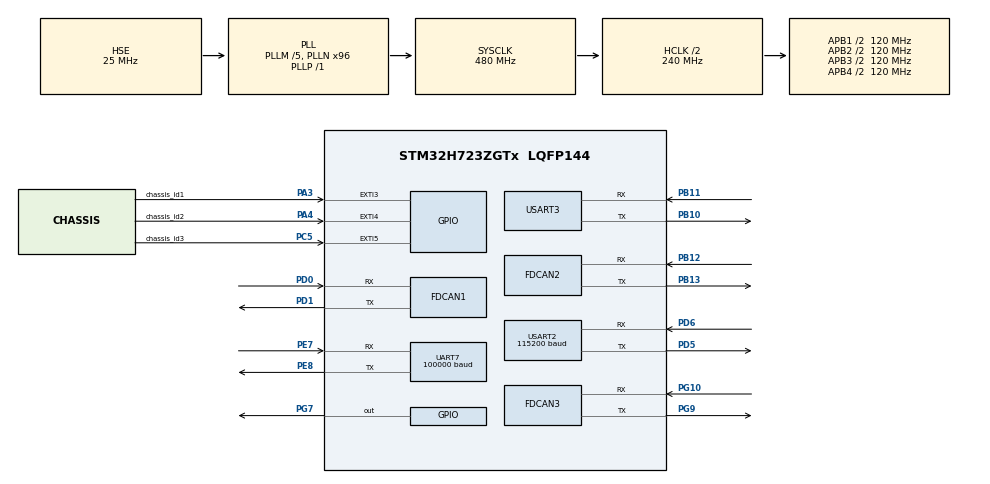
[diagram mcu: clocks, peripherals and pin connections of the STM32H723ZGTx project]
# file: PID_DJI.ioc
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CORTEX_M7.default_mode_Activation=1
Dma.Request0=USART3_RX
Dma.Request1=USART3_TX
Dma.Request2=UART7_RX
Dma.Request3=UART7_TX
Dma.Request4=USART2_RX
Dma.Request5=USART2_TX
Dma.UART7_RX.2.Direction=DMA_PERIPH_TO_MEMORY
Dma.UART7_RX.2.EventEnable=DISABLE
Dma.UART7_RX.2.FIFOMode=DMA_FIFOMODE_DISABLE
Dma.UART7_RX.2.Instance=DMA1_Stream2
Dma.UART7_RX.2.MemDataAlignment=DMA_MDATAALIGN_BYTE
Dma.UART7_RX.2.MemInc=DMA_MINC_ENABLE
Dma.UART7_RX.2.Mode=DMA_NORMAL
Dma.UART7_RX.2.PeriphDataAlignment=DMA_PDATAALIGN_BYTE
Dma.UART7_RX.2.PeriphInc=DMA_PINC_DISABLE
Dma.UART7_RX.2.Polarity=HAL_DMAMUX_REQ_GEN_RISING
Dma.UART7_RX.2.Priority=DMA_PRIORITY_LOW
Dma.UART7_RX.2.RequestNumber=1
Dma.UART7_RX.2.SignalID=NONE
Dma.UART7_RX.2.SyncEnable=DISABLE
Dma.UART7_RX.2.SyncPolarity=HAL_DMAMUX_SYNC_NO_EVENT
Dma.UART7_RX.2.SyncRequestNumber=1
Dma.UART7_RX.2.SyncSignalID=NONE
Dma.UART7_TX.3.Direction=DMA_MEMORY_TO_PERIPH
Dma.UART7_TX.3.EventEnable=DISABLE
Dma.UART7_TX.3.FIFOMode=DMA_FIFOMODE_DISABLE
Dma.UART7_TX.3.Instance=DMA1_Stream3
Dma.UART7_TX.3.MemDataAlignment=DMA_MDATAALIGN_BYTE
Dma.UART7_TX.3.MemInc=DMA_MINC_ENABLE
Dma.UART7_TX.3.Mode=DMA_NORMAL
Dma.UART7_TX.3.PeriphDataAlignment=DMA_PDATAALIGN_BYTE
Dma.UART7_TX.3.PeriphInc=DMA_PINC_DISABLE
Dma.UART7_TX.3.Polarity=HAL_DMAMUX_REQ_GEN_RISING
Dma.UART7_TX.3.Priority=DMA_PRIORITY_LOW
Dma.UART7_TX.3.RequestNumber=1
Dma.UART7_TX.3.SignalID=NONE
Dma.UART7_TX.3.SyncEnable=DISABLE
Dma.UART7_TX.3.SyncPolarity=HAL_DMAMUX_SYNC_NO_EVENT
Dma.UART7_TX.3.SyncRequestNumber=1
Dma.UART7_TX.3.SyncSignalID=NONE
Dma.USART2_RX.4.Direction=DMA_PERIPH_TO_MEMORY
Dma.USART2_RX.4.EventEnable=DISABLE
Dma.USART2_RX.4.FIFOMode=DMA_FIFOMODE_DISABLE
Dma.USART2_RX.4.Instance=DMA1_Stream4
Dma.USART2_RX.4.MemDataAlignment=DMA_MDATAALIGN_BYTE
Dma.USART2_RX.4.MemInc=DMA_MINC_ENABLE
Dma.USART2_RX.4.Mode=DMA_NORMAL
Dma.USART2_RX.4.PeriphDataAlignment=DMA_PDATAALIGN_BYTE
Dma.USART2_RX.4.PeriphInc=DMA_PINC_DISABLE
Dma.USART2_RX.4.Polarity=HAL_DMAMUX_REQ_GEN_RISING
Dma.USART2_RX.4.Priority=DMA_PRIORITY_LOW
Dma.USART2_RX.4.RequestNumber=1
Dma.USART2_RX.4.SignalID=NONE
Dma.USART2_RX.4.SyncEnable=DISABLE
Dma.USART2_RX.4.SyncPolarity=HAL_DMAMUX_SYNC_NO_EVENT
Dma.USART2_RX.4.SyncRequestNumber=1
Dma.USART2_RX.4.SyncSignalID=NONE
Dma.USART2_TX.5.Direction=DMA_MEMORY_TO_PERIPH
Dma.USART2_TX.5.EventEnable=DISABLE
Dma.USART2_TX.5.FIFOMode=DMA_FIFOMODE_DISABLE
Dma.USART2_TX.5.Instance=DMA1_Stream5
Dma.USART2_TX.5.MemDataAlignment=DMA_MDATAALIGN_BYTE
Dma.USART2_TX.5.MemInc=DMA_MINC_ENABLE
Dma.USART2_TX.5.Mode=DMA_NORMAL
Dma.USART2_TX.5.PeriphDataAlignment=DMA_PDATAALIGN_BYTE
Dma.USART2_TX.5.PeriphInc=DMA_PINC_DISABLE
Dma.USART2_TX.5.Polarity=HAL_DMAMUX_REQ_GEN_RISING
Dma.USART2_TX.5.Priority=DMA_PRIORITY_LOW
Dma.USART2_TX.5.RequestNumber=1
Dma.USART2_TX.5.SignalID=NONE
Dma.USART2_TX.5.SyncEnable=DISABLE
Dma.USART2_TX.5.SyncPolarity=HAL_DMAMUX_SYNC_NO_EVENT
Dma.USART2_TX.5.SyncRequestNumber=1
Dma.USART2_TX.5.SyncSignalID=NONE
Dma.USART3_RX.0.Direction=DMA_PERIPH_TO_MEMORY
Dma.USART3_RX.0.EventEnable=DISABLE
Dma.USART3_RX.0.FIFOMode=DMA_FIFOMODE_DISABLE
Dma.USART3_RX.0.Instance=DMA1_Stream0
Dma.USART3_RX.0.MemDataAlignment=DMA_MDATAALIGN_BYTE
Dma.USART3_RX.0.MemInc=DMA_MINC_ENABLE
Dma.USART3_RX.0.Mode=DMA_NORMAL
Dma.USART3_RX.0.PeriphDataAlignment=DMA_PDATAALIGN_BYTE
Dma.USART3_RX.0.PeriphInc=DMA_PINC_DISABLE
Dma.USART3_RX.0.Polarity=HAL_DMAMUX_REQ_GEN_RISING
Dma.USART3_RX.0.Priority=DMA_PRIORITY_LOW
Dma.USART3_RX.0.RequestNumber=1
Dma.USART3_RX.0.SignalID=NONE
Dma.USART3_RX.0.SyncEnable=DISABLE
Dma.USART3_RX.0.SyncPolarity=HAL_DMAMUX_SYNC_NO_EVENT
Dma.USART3_RX.0.SyncRequestNumber=1
Dma.USART3_RX.0.SyncSignalID=NONE
Dma.USART3_TX.1.Direction=DMA_MEMORY_TO_PERIPH
Dma.USART3_TX.1.EventEnable=DISABLE
Dma.USART3_TX.1.FIFOMode=DMA_FIFOMODE_DISABLE
Dma.USART3_TX.1.Instance=DMA1_Stream1
Dma.USART3_TX.1.MemDataAlignment=DMA_MDATAALIGN_BYTE
Dma.USART3_TX.1.MemInc=DMA_MINC_ENABLE
Dma.USART3_TX.1.Mode=DMA_NORMAL
Dma.USART3_TX.1.PeriphDataAlignment=DMA_PDATAALIGN_BYTE
Dma.USART3_TX.1.PeriphInc=DMA_PINC_DISABLE
Dma.USART3_TX.1.Polarity=HAL_DMAMUX_REQ_GEN_RISING
Dma.USART3_TX.1.Priority=DMA_PRIORITY_LOW
Dma.USART3_TX.1.RequestNumber=1
Dma.USART3_TX.1.SignalID=NONE
Dma.USART3_TX.1.SyncEnable=DISABLE
Dma.USART3_TX.1.SyncPolarity=HAL_DMAMUX_SYNC_NO_EVENT
Dma.USART3_TX.1.SyncRequestNumber=1
Dma.USART3_TX.1.SyncSignalID=NONE
FDCAN1.CalculateBaudRateNominal=1000000
FDCAN1.CalculateTimeBitNominal=1000
FDCAN1.CalculateTimeQuantumNominal=25.0
FDCAN1.DataPrescaler=3
FDCAN1.DataSyncJumpWidth=10
FDCAN1.DataTimeSeg1=29
FDCAN1.DataTimeSeg2=10
FDCAN1.NominalPrescaler=3
FDCAN1.NominalSyncJumpWidth=10
FDCAN1.NominalTimeSeg1=29
FDCAN1.NominalTimeSeg2=10
FDCAN1.ProtocolException=ENABLE
FDCAN1.RxFifo0ElmtsNbr=64
FDCAN1.StdFiltersNbr=1
FDCAN1.TxFifoQueueElmtsNbr=32
FDCAN2.CalculateBaudRateNominal=1000000
FDCAN2.CalculateTimeBitNominal=1000
FDCAN2.CalculateTimeQuantumNominal=25.0
FDCAN2.DataPrescaler=3
FDCAN2.DataSyncJumpWidth=10
FDCAN2.DataTimeSeg1=29
FDCAN2.DataTimeSeg2=10
FDCAN2.MessageRAMOffset=0x406
FDCAN2.NominalPrescaler=3
FDCAN2.NominalSyncJumpWidth=10
FDCAN2.NominalTimeSeg1=29
FDCAN2.NominalTimeSeg2=10
FDCAN2.ProtocolException=ENABLE
FDCAN2.RxFifo0ElmtsNbr=64
FDCAN2.StdFiltersNbr=1
FDCAN2.TxFifoQueueElmtsNbr=32
FDCAN3.CalculateBaudRateNominal=1000000
FDCAN3.CalculateTimeBitNominal=1000
FDCAN3.CalculateTimeQuantumNominal=25.0
FDCAN3.DataPrescaler=3
FDCAN3.DataSyncJumpWidth=10
FDCAN3.DataTimeSeg1=29
FDCAN3.DataTimeSeg2=10
FDCAN3.MessageRAMOffset=0x80C
FDCAN3.NominalPrescaler=3
FDCAN3.NominalSyncJumpWidth=10
FDCAN3.NominalTimeSeg1=29
FDCAN3.NominalTimeSeg2=10
FDCAN3.ProtocolException=ENABLE
FDCAN3.RxFifo0ElmtsNbr=64
FDCAN3.StdFiltersNbr=1
FDCAN3.TxFifoQueueElmtsNbr=32
FREERTOS.Tasks01=chassis_task,24,128,start_chassis_task,Default,NULL,Dynamic,NULL,NULL;RunBallTask,8,128,StartRunBallTask,Default,NULL,Dynamic,NULL,NULL
IWDG1.Prescaler=IWDG_PRESCALER_8
IWDG1.Reload=30
IWDG1.Window=30
Mcu.Family=STM32H7
Mcu.Name=STM32H723ZGTx
Mcu.Package=LQFP144
NVIC.DMA1_Stream0_IRQn=true\:5\:0\:false\:false\:true\:true\:false\:true\:true
NVIC.DMA1_Stream1_IRQn=true\:5\:0\:false\:false\:true\:true\:false\:true\:true
NVIC.DMA1_Stream2_IRQn=true\:5\:0\:false\:false\:true\:true\:false\:true\:true
NVIC.DMA1_Stream3_IRQn=true\:5\:0\:false\:false\:true\:true\:false\:true\:true
NVIC.DMA1_Stream4_IRQn=true\:5\:0\:false\:false\:true\:true\:false\:true\:true
NVIC.DMA1_Stream5_IRQn=true\:5\:0\:false\:false\:true\:true\:false\:true\:true
NVIC.EXTI3_IRQn=true\:5\:0\:false\:false\:true\:true\:true\:true\:true
NVIC.EXTI4_IRQn=true\:5\:0\:false\:false\:true\:true\:true\:true\:true
NVIC.EXTI9_5_IRQn=true\:5\:0\:false\:false\:true\:true\:true\:true\:true
NVIC.FDCAN1_IT0_IRQn=true\:6\:0\:true\:false\:true\:true\:true\:true\:true
NVIC.FDCAN2_IT0_IRQn=true\:6\:0\:true\:false\:true\:true\:true\:true\:true
NVIC.FDCAN2_IT1_IRQn=true\:6\:0\:true\:false\:true\:true\:true\:true\:true
NVIC.FDCAN3_IT0_IRQn=true\:5\:0\:false\:false\:true\:true\:true\:true\:true
NVIC.FDCAN3_IT1_IRQn=true\:5\:0\:false\:false\:true\:true\:true\:true\:true
NVIC.FDCAN_CAL_IRQn=true\:5\:0\:false\:false\:true\:true\:true\:true\:true
NVIC.PriorityGroup=NVIC_PRIORITYGROUP_4
NVIC.TIM1_UP_IRQn=true\:15\:0\:false\:false\:true\:false\:false\:true\:true
NVIC.TIM6_DAC_IRQn=true\:5\:0\:false\:false\:true\:true\:true\:true\:true
NVIC.TIM7_IRQn=true\:5\:0\:false\:false\:true\:true\:true\:true\:true
NVIC.TimeBase=TIM1_UP_IRQn
NVIC.TimeBaseIP=TIM1
NVIC.UART7_IRQn=true\:8\:0\:true\:false\:true\:true\:true\:true\:true
NVIC.USART2_IRQn=true\:7\:0\:true\:false\:true\:true\:true\:true\:true
NVIC.USART3_IRQn=true\:7\:0\:true\:false\:true\:true\:true\:true\:true
PA13(JTMS/SWDIO).Mode=Serial_Wire
PA13(JTMS/SWDIO).Signal=DEBUG_JTMS-SWDIO
PA14(JTCK/SWCLK).Mode=Serial_Wire
PA14(JTCK/SWCLK).Signal=DEBUG_JTCK-SWCLK
PA3.GPIO_Label=chassis_id1
PA3.GPIO_ModeDefaultEXTI=GPIO_MODE_IT_FALLING
PA3.GPIO_PuPd=GPIO_PULLUP
PA3.Signal=GPXTI3
PA4.GPIO_Label=chassis_id2
PA4.GPIO_ModeDefaultEXTI=GPIO_MODE_IT_FALLING
PA4.GPIO_PuPd=GPIO_PULLUP
PA4.Signal=GPXTI4
PB10.Mode=Asynchronous
PB10.Signal=USART3_TX
PB11.Mode=Asynchronous
PB11.Signal=USART3_RX
PB12.Mode=FDCAN_Activate
PB12.Signal=FDCAN2_RX
PB13.Mode=FDCAN_Activate
PB13.Signal=FDCAN2_TX
PC14-OSC32_IN.Mode=LSE-External-Oscillator
PC14-OSC32_IN.Signal=RCC_OSC32_IN
PC15-OSC32_OUT.Mode=LSE-External-Oscillator
PC15-OSC32_OUT.Signal=RCC_OSC32_OUT
PC5.GPIO_Label=chassis_id3
PC5.GPIO_ModeDefaultEXTI=GPIO_MODE_IT_FALLING
PC5.GPIO_PuPd=GPIO_PULLUP
PC5.Signal=GPXTI5
PD0.Mode=FDCAN_Activate
PD0.Signal=FDCAN1_RX
PD1.Mode=FDCAN_Activate
PD1.Signal=FDCAN1_TX
PD5.Mode=Asynchronous
PD5.Signal=USART2_TX
PD6.Mode=Asynchronous
PD6.Signal=USART2_RX
PE7.Mode=Asynchronous
PE7.Signal=UART7_RX
PE8.Mode=Asynchronous
PE8.Signal=UART7_TX
PG10.Mode=FDCAN_Activate
PG10.Signal=FDCAN3_RX
PG7.GPIO_PuPd=GPIO_PULLUP
PG7.Signal=GPIO_Output
PG9.Mode=FDCAN_Activate
PG9.Signal=FDCAN3_TX
PH0-OSC_IN.Mode=HSE-External-Oscillator
PH0-OSC_IN.Signal=RCC_OSC_IN
PH1-OSC_OUT.Mode=HSE-External-Oscillator
PH1-OSC_OUT.Signal=RCC_OSC_OUT
ProjectManager.HeapSize=0x200
ProjectManager.StackSize=0x400
ProjectManager.TargetToolchain=MDK-ARM V5.32
RCC.ADCFreq_Value=50390625
RCC.APB1Freq_Value=120000000
RCC.APB2Freq_Value=120000000
RCC.APB3Freq_Value=120000000
RCC.APB4Freq_Value=120000000
RCC.CortexFreq_Value=480000000
RCC.D1PPRE=RCC_APB3_DIV2
RCC.D2PPRE1=RCC_APB1_DIV2
RCC.D2PPRE2=RCC_APB2_DIV2
RCC.D3PPRE=RCC_APB4_DIV2
RCC.DIVM1=5
RCC.DIVN1=96
RCC.DIVP1=1
RCC.DIVQ1=4
RCC.HCLKFreq_Value=240000000
RCC.HPRE=RCC_HCLK_DIV2
RCC.HSE_VALUE=25000000
RCC.PLLFRACN=0
RCC.PLLSourceVirtual=RCC_PLLSOURCE_HSE
RCC.SYSCLKFreq_VALUE=480000000
RCC.SYSCLKSource=RCC_SYSCLKSOURCE_PLLCLK
RCC.USBFreq_Value=120000000
TIM6.Period=1000
TIM6.Prescaler=240
TIM7.Period=1000
TIM7.Prescaler=4800
UART7.BaudRate=100000
USART2.BaudRate=115200
USART2.VirtualMode-Asynchronous=VM_ASYNC
USART3.VirtualMode-Asynchronous=VM_ASYNC
VP_FREERTOS_VS_CMSIS_V2.Mode=CMSIS_V2
VP_IWDG1_VS_IWDG.Mode=IWDG_Activate
VP_SYS_VS_tim1.Mode=TIM1
VP_TIM6_VS_ClockSourceINT.Mode=Enable_Timer
VP_TIM7_VS_ClockSourceINT.Mode=Enable_Timer
board=custom

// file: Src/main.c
/* USER CODE BEGIN Header */
/**
  ******************************************************************************
  * @file           : main.c
  * @brief          : Main program body
  ******************************************************************************
  * @attention
  *
  * Copyright (c) 2024 STMicroelectronics.
  * All rights reserved.
  *
  * This software is licensed under terms that can be found in the LICENSE file
  * in the root directory of this software component.
  * If no LICENSE file comes with this software, it is provided AS-IS.
  *
  ******************************************************************************
  */
/* USER CODE END Header */
#include "main.h"
#include "cmsis_os.h"
#include "dma.h"
#include "fdcan.h"
#include "iwdg.h"
#include "tim.h"
#include "usart.h"
#include "gpio.h"

/* USER CODE BEGIN Includes */
#include "PID_MODEL.h"
#include "rtwtypes.h"
#include <math.h>
#include "bsp_fdcan.h"
#include "motorctrl.h"
#include "stdio.h"
#include "math.h"
#include "dm_motor_drv.h"
#include "dm_motor_ctrl.h"
#include "UPPER_LOCATION.h"
#include "stdio.h"
#include "string.h"
#include "sbus.h"
#include "runball.h"
#include "data.h"
/* USER CODE END Includes */

/* USER CODE BEGIN PTD */
extern motor_t motor[num];
extern uint8_t CAN_RECEIVE[3];
extern TGT_COOR TC;
extern REAL_COOR RC;
extern double deadband;
extern motor_measure_t *motor_data_can1[8];
extern motor_measure_t *motor_data_can2[8];
extern motor_measure_t *motor_data_can3[8];

extern IWDG_HandleTypeDef hiwdg1;
extern int Vel_Deadband[3];
#define VEL      1
#define ANG      2
#define PI 3.1415926
#define m3519_init -30*8191/360
uint8_t active_can[10];
/* USER CODE END PTD */

/* USER CODE BEGIN PM */

int theta_test[10];

uint8_t uart_index[2] = {0};
uint8_t buffer[100];
char UART2_TX_BUF[100];
uint8_t UART7_RX_BUF[100];
uint8_t UART3_RX_BUF[100];
uint8_t UART2_RX_BUF[100];
uint8_t rx_datatemp[8];
int cnt[10];
int PinState=0;
uint8_t usart2_rec=0;
int HelmInit[10]={0};
uint8_t KEY_STA[10]={0};
uint8_t INIT_FINISH[10]={0};
int KEY_CNT[10]={0};
int key_state[3];
int watch=0;
/* USER CODE END PM */

void SystemClock_Config(void);
static void MPU_Config(void);
void MX_FREERTOS_Init(void);

int main(void)
{

  /* MPU Configuration--------------------------------------------------------*/
  MPU_Config();

  /* MCU Configuration--------------------------------------------------------*/

  /* Reset of all peripherals, Initializes the Flash interface and the Systick. */
  HAL_Init();

  /* Configure the system clock */
  SystemClock_Config();

  /* Initialize all configured peripherals */
  MX_GPIO_Init();
  MX_DMA_Init();
  MX_TIM6_Init();
  MX_FDCAN2_Init();
  MX_USART2_UART_Init();
  MX_FDCAN3_Init();
  MX_USART3_UART_Init();
  MX_FDCAN1_Init();
  MX_UART7_Init();
  MX_IWDG1_Init();
  MX_TIM7_Init();
  /* USER CODE BEGIN 2 */
	HAL_TIM_Base_Start_IT(&htim6);
	HAL_TIM_Base_Start_IT(&htim7);
	HAL_UART_Receive_IT(&huart2, buffer+1, 1);
	HAL_UART_Receive_IT(&huart3, buffer, 1);
//  can_filter_init();
	bsp_can_init();
	PID_MODEL_initialize();
	PID_Speed_Para_Init(1, 1, 10 , 3 , 0.01);
	PID_Speed_Para_Init(1, 2, 10 , 3 , 0.01);
	PID_Speed_Para_Init(1, 3, 10 , 3 , 0.01);
	PID_Speed_Para_Init(1, 4, 10 , 3 , 0.01);
	PID_Speed_Para_Init(1, 5, 10 , 3 , 0.01);

	PID_Speed_Para_Init(2, 1, 20 , 8 , 0.01);
	PID_Speed_Para_Init(2, 2, 20 , 8 , 0.01);
	PID_Speed_Para_Init(2, 3, 20 , 8 , 0.01);

	PID_Speed_Para_Init(2, 5, 70 , 8 , 0.01);
	PID_Speed_Para_Init(2, 6, 70 , 8 , 0.01);
	PID_Speed_Para_Init(2, 7, 70 , 8 , 0.01);

	PID_Speed_Para_Init(3, 1, 10 , 3 , 0.01);
	PID_Speed_Para_Init(3, 2, 10 , 3 , 0.01);
	PID_Speed_Para_Init(3, 3, 10 , 3 , 0.01);
	PID_Speed_Para_Init(3, 4, 10 , 3 , 0.01);
	PID_Speed_Para_Init(3, 5, 10 , 3 , 0.01);

	PID_Angle_S_Para_Init(1, 1 , 10 , 3 , 0.01);
  PID_Angle_A_Para_Init(1, 1 , 0.3 , 0 , 0);
	rtP.TRANS_CH1_1=0.5;

	PID_Angle_S_Para_Init(2, 1 , 10 , 3 , 0.01);
  PID_Angle_A_Para_Init(2, 1 , 0.3 , 0 , 0);

	PID_Angle_S_Para_Init(2, 2 , 10 , 3 , 0.01);
  PID_Angle_A_Para_Init(2, 2 , 0.25 , 0 , 0);

	PID_Angle_S_Para_Init(2, 3 , 10 , 3 , 0.01);
  PID_Angle_A_Para_Init(2, 3 , 0.3 , 0 , 0);

	PID_Angle_S_Para_Init(3, 1 , 10 , 3 , 0.01);
  PID_Angle_A_Para_Init(3, 1 , 0.3 , 0 , 0);

	Set_6020_Mode( 0 );
	set_mode( VEL, VEL, VEL, VEL, VEL, VEL, VEL,
            VEL, VEL, VEL, VEL, VEL, VEL, VEL,
					  ANG, VEL, VEL, VEL, ANG, ANG, ANG );
	dm_motor_init();

	memset(UART2_TX_BUF,0,sizeof(UART2_TX_BUF));

	while(1){
		active_can[0]=motor_data_can2[0]->activate;
		if(active_can[0]){
			HAL_Delay(300);//when the dm motor is activated, its data back might be wrong, so we give a delay here
			break;
		}
	}

		rtU.target_CH2_1=1000;
	while(1){
		active_can[1]=motor_data_can2[1]->activate;
		if(active_can[1]){
			HAL_Delay(300);
			break;
		}
	}

		rtU.target_CH2_2=1000;
	while(1){
		active_can[2]=motor_data_can2[2]->activate;
		if(active_can[2]){
			HAL_Delay(300);
			break;
		}
	}

		rtU.target_CH2_3=1000;
	for(int i=0;i<10;i++){
		dm_motor_enable(&hfdcan1,&motor[Motor1]);
		dm_motor_enable(&hfdcan1,&motor[Motor2]);
		dm_motor_enable(&hfdcan1,&motor[Motor3]);
		HAL_Delay(10);
	}
  /* USER CODE END 2 */

  /* Init scheduler */
  osKernelInitialize();

  /* Call init function for freertos objects (in cmsis_os2.c) */
  MX_FREERTOS_Init();

  /* Start scheduler */
  osKernelStart();

  /* We should never get here as control is now taken by the scheduler */

  /* Infinite loop */
  /* USER CODE BEGIN WHILE */
  while (1)
  {

//		if(RC.action==1)
//		{
//			int buff_len;
//			memset(UART2_TX_BUF,0,buff_len);
//			buff_len = sprintf(UART2_TX_BUF,"%f\r\n",(float)deadband);
//			HAL_UART_Transmit(&huart2,(uint8_t *)UART2_TX_BUF,buff_len,10);
//		}

    /* USER CODE END WHILE */

  }
}

void SystemClock_Config(void)
{
  RCC_OscInitTypeDef RCC_OscInitStruct = {0};
  RCC_ClkInitTypeDef RCC_ClkInitStruct = {0};

  /** Supply configuration update enable
  */
  HAL_PWREx_ConfigSupply(PWR_LDO_SUPPLY);

  /** Configure the main internal regulator output voltage
  */
  __HAL_PWR_VOLTAGESCALING_CONFIG(PWR_REGULATOR_VOLTAGE_SCALE0);

  while(!__HAL_PWR_GET_FLAG(PWR_FLAG_VOSRDY)) {}

  /** Initializes the RCC Oscillators according to the specified parameters
  * in the RCC_OscInitTypeDef structure.
  */
  RCC_OscInitStruct.OscillatorType = RCC_OSCILLATORTYPE_LSI|RCC_OSCILLATORTYPE_HSE;
  RCC_OscInitStruct.HSEState = RCC_HSE_ON;
  RCC_OscInitStruct.LSIState = RCC_LSI_ON;
  RCC_OscInitStruct.PLL.PLLState = RCC_PLL_ON;
  RCC_OscInitStruct.PLL.PLLSource = RCC_PLLSOURCE_HSE;
  RCC_OscInitStruct.PLL.PLLM = 5;
  RCC_OscInitStruct.PLL.PLLN = 96;
  RCC_OscInitStruct.PLL.PLLP = 1;
  RCC_OscInitStruct.PLL.PLLQ = 4;
  RCC_OscInitStruct.PLL.PLLR = 2;
  RCC_OscInitStruct.PLL.PLLRGE = RCC_PLL1VCIRANGE_2;
  RCC_OscInitStruct.PLL.PLLVCOSEL = RCC_PLL1VCOWIDE;
  RCC_OscInitStruct.PLL.PLLFRACN = 0;
  if (HAL_RCC_OscConfig(&RCC_OscInitStruct) != HAL_OK)
  {
    Error_Handler();
  }

  /** Initializes the CPU, AHB and APB buses clocks
  */
  RCC_ClkInitStruct.ClockType = RCC_CLOCKTYPE_HCLK|RCC_CLOCKTYPE_SYSCLK
                              |RCC_CLOCKTYPE_PCLK1|RCC_CLOCKTYPE_PCLK2
                              |RCC_CLOCKTYPE_D3PCLK1|RCC_CLOCKTYPE_D1PCLK1;
  RCC_ClkInitStruct.SYSCLKSource = RCC_SYSCLKSOURCE_PLLCLK;
  RCC_ClkInitStruct.SYSCLKDivider = RCC_SYSCLK_DIV1;
  RCC_ClkInitStruct.AHBCLKDivider = RCC_HCLK_DIV2;
  RCC_ClkInitStruct.APB3CLKDivider = RCC_APB3_DIV2;
  RCC_ClkInitStruct.APB1CLKDivider = RCC_APB1_DIV2;
  RCC_ClkInitStruct.APB2CLKDivider = RCC_APB2_DIV2;
  RCC_ClkInitStruct.APB4CLKDivider = RCC_APB4_DIV2;

  if (HAL_RCC_ClockConfig(&RCC_ClkInitStruct, FLASH_LATENCY_3) != HAL_OK)
  {
    Error_Handler();
  }
}

/* USER CODE BEGIN 4 */

void HAL_UART_RxCpltCallback(UART_HandleTypeDef *huart)
{

		 if (huart->Instance == USART2)
    {
				if(uart_index[1] == 0 && buffer[1]!=0xA5){
					HAL_UART_Receive_IT(&huart2, buffer+1, 1);

				}else{
        UART2_RX_BUF[uart_index[1]++] = buffer[1];

        if (uart_index[1] == 16)
        {
            uart_index[1] = 0;
            if (UART2_RX_BUF[0] == 0xA5 && UART2_RX_BUF[15] == 0x5A)
            {
								Receive();

            }
        }

        HAL_UART_Receive_IT(&huart2, buffer+1, 1);
			}

    }
		if (huart->Instance == USART3)
    {
				watch=data.STATE;
				if(uart_index[0] == 0 && buffer[0]!=0x2B){
					HAL_UART_Receive_IT(&huart3, buffer, 1);
//					watch=1;
				}else{
        UART3_RX_BUF[uart_index[0]++] = buffer[0];
//					watch=2;
        if (uart_index[0] == 14)
        {
            uart_index[0] = 0;
//						watch=3;
            if (UART3_RX_BUF[0] == 0x2B && UART3_RX_BUF[13] == 0xB2)
            {
//								watch=update_remotedata(UART3_RX_BUF);

            }
        }

        HAL_UART_Receive_IT(&huart3, buffer, 1);
			}

    }
//    if (huart->Instance == UART7)
//    {
//
//			if(uart_index[0] == 0 && buffer[0]!=0x0F){
//					HAL_UART_Receive_IT(&huart7, buffer, 1);
//
//				}else
//        UART7_RX_BUF[uart_index[0]++] = buffer[0];

//        if (uart_index[0] == 24)
//        {
//            uart_index[0] = 0;
//            if (UART7_RX_BUF[0] == 0x0F && UART7_RX_BUF[24] == 0x00)
//            {
//								update_sbus(UART7_RX_BUF);
//            }
//        }

//        HAL_UART_Receive_IT(&huart7, buffer, 1);
//
//    }
}
void HAL_UART_ErrorCallback(UART_HandleTypeDef *huart)
{
  if (huart->Instance == UART7)
  {
        HAL_UART_Receive_IT(&huart7, buffer+1, 1);

  }
  if (huart->Instance == USART2)
  {
    HAL_UART_Receive_IT(&huart2, buffer, 1);
  }
}

/* USER CODE END 4 */

 /* MPU Configuration */

void MPU_Config(void)
{
  MPU_Region_InitTypeDef MPU_InitStruct = {0};

  /* Disables the MPU */
  HAL_MPU_Disable();

  /** Initializes and configures the Region and the memory to be protected
  */
  MPU_InitStruct.Enable = MPU_REGION_ENABLE;
  MPU_InitStruct.Number = MPU_REGION_NUMBER0;
  MPU_InitStruct.BaseAddress = 0x0;
  MPU_InitStruct.Size = MPU_REGION_SIZE_4GB;
  MPU_InitStruct.SubRegionDisable = 0x87;
  MPU_InitStruct.TypeExtField = MPU_TEX_LEVEL0;
  MPU_InitStruct.AccessPermission = MPU_REGION_NO_ACCESS;
  MPU_InitStruct.DisableExec = MPU_INSTRUCTION_ACCESS_DISABLE;
  MPU_InitStruct.IsShareable = MPU_ACCESS_SHAREABLE;
  MPU_InitStruct.IsCacheable = MPU_ACCESS_NOT_CACHEABLE;
  MPU_InitStruct.IsBufferable = MPU_ACCESS_NOT_BUFFERABLE;

  HAL_MPU_ConfigRegion(&MPU_InitStruct);
  /* Enables the MPU */
  HAL_MPU_Enable(MPU_PRIVILEGED_DEFAULT);

}

void HAL_TIM_PeriodElapsedCallback(TIM_HandleTypeDef *htim)
{
  if (htim->Instance == TIM1) {
    HAL_IncTick();
  }
  /* USER CODE BEGIN Callback 1 */
	if (htim->Instance == TIM6)
  {

    cnt[0]++;

		HAL_IWDG_Refresh(&hiwdg1);//喂狗

		dm_motor_ctrl_send(&hfdcan1,&motor[Motor1]);
		dm_motor_ctrl_send(&hfdcan1,&motor[Motor2]);
		dm_motor_ctrl_send(&hfdcan1,&motor[Motor3]);
		Reach_TGT();
		get_msgn();
		assign_output();
    motor_state_update();
		set_reset_status();
		PID_MODEL_step();
		cnt[1]++;
		if(cnt[1]==500){
			HAL_GPIO_TogglePin(GPIOG,GPIO_PIN_7);
			cnt[1]=0;
		}

			if (KEY_STA[0] == 1)
		{
			KEY_CNT[0]++;

			if (KEY_CNT[0] == 20)
			{
					if (!HAL_GPIO_ReadPin(chassis_id1_GPIO_Port, chassis_id1_Pin))
					{
						  INIT_FINISH[0]=1;
							rtU.status_CH2_1=2;
							set_target(2,1,HelmInit[0]+m3519_init*9);
							HAL_GPIO_DeInit(chassis_id1_GPIO_Port,chassis_id1_Pin);
					}

					KEY_STA[0] = 0;
					KEY_CNT[0] = 0;
			}
		}

		if (KEY_STA[1] == 1)
		{
			KEY_CNT[1]++;

			if (KEY_CNT[1] == 20)
			{
					if (!HAL_GPIO_ReadPin(chassis_id2_GPIO_Port, chassis_id2_Pin))
					{
							INIT_FINISH[1]=1;
							rtU.status_CH2_2=2;
							set_target(2,2,HelmInit[1]+m3519_init*9);
							HAL_GPIO_DeInit(chassis_id2_GPIO_Port,chassis_id2_Pin);
					}

					KEY_STA[1] = 0;
					KEY_CNT[1] = 0;
			}
		}

		if (KEY_STA[2] == 1)
		{
			KEY_CNT[2]++;

			if (KEY_CNT[2] == 20)
			{
					if (!HAL_GPIO_ReadPin(chassis_id3_GPIO_Port, chassis_id3_Pin))
					{
							INIT_FINISH[2]=1;
							rtU.status_CH2_3=2;
							set_target(2,3,HelmInit[2]+m3519_init*9);
							HAL_GPIO_DeInit(chassis_id3_GPIO_Port,chassis_id3_Pin);
					}

					KEY_STA[2] = 0;
					KEY_CNT[2] = 0;
			}
		}

  }
	if (htim->Instance == TIM7){
		watch=update_remotedata(UART3_RX_BUF);
		for(int cnt=0;cnt<=sizeof(UART3_RX_BUF);cnt++)
			UART3_RX_BUF[cnt]=0;8

	}
  /* USER CODE END Callback 1 */
}

void Error_Handler(void)
{
  __disable_irq();
  while (1)
  {
  }
}
